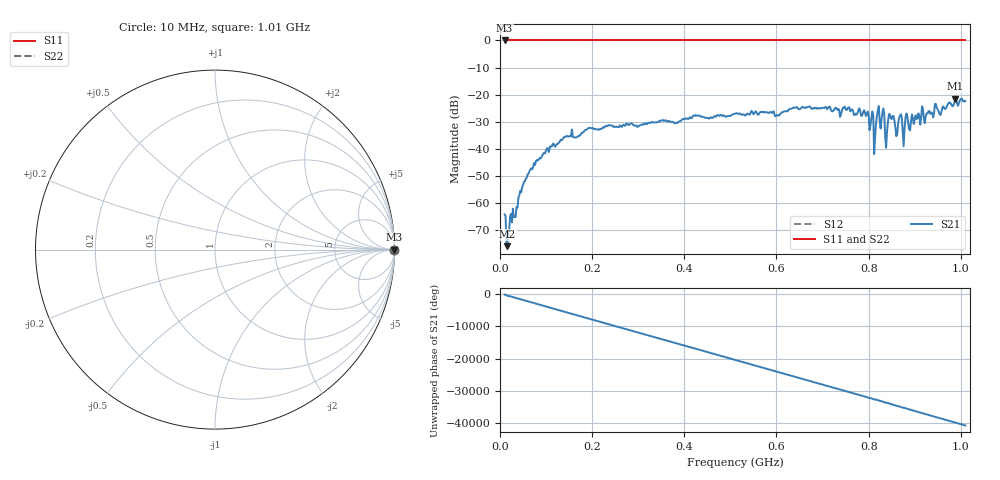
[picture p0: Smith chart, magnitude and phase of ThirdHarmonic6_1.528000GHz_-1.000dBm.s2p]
! 8/16/2025 6:04:28 PM
! C:\ANRITSUVNA\TEMP\TEMP.S2P
! CHANNEL.1
! TR.MEASUREMENT
! RAW.DATA
! RF.CORRECTION.OFF
! AVERAGING.OFF
! IF.BANDWIDTH: 5KHZ
! SWEEPTYPE:  FREQ.SWEEP(Linear)
! Reference Plane Port Info
! PORT:  PORT1  PORT2
! DISTANCE:  0  m  0  m
! TIME:  0  s  0  s
! PHASE.OFFSET:  0  deg.  0  deg.
! LOSS:  0  dB  0  dB
! REF.LOSS:  0  dB  0  dB
! REF.FREQ:  0  Hz  0  Hz
! Power Info
! POWER:  -20  dBm  -20  dBm
! EFF.POWER:  -20  dBm  -20  dBm
! SOURCE.ATTEN:  0  dB  0  dB
! TEST.ATTEN:  0  dB  0  dB
# GHZ S RI R 50.0
! FREQ.GHZ  S11RE  S11IM  S21RE  S21IM  S12RE  S12IM  S22RE  S22IM
!; PortSelection: Port_12
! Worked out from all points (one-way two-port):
!   501 points, 10 MHz to 1.01 GHz, reference 50 ohm
!   highest |S21| = -21.45 dB at 988 MHz (marker M1); lowest = -76.0 dB at 16 MHz (marker M2)
!   lowest |S11| = 0.0 dB at 10 MHz (marker M3)
!   |S11| at or under -10 dB: nowhere
!   |S22| runs from 0.0 to 0.0 dB; largest |S21 - S12| = 1.1
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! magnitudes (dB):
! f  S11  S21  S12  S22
! 10 MHz  0.0  -64.3  0.0  0.0
! 16 MHz  0.0  -76.0  0.0  0.0
! 52 MHz  0.0  -52.3  0.0  0.0
! 78 MHz  0.0  -44.6  0.0  0.0
! 142 MHz  0.0  -35.6  0.0  0.0
! 178 MHz  0.0  -34.1  0.0  0.0
! 344 MHz  0.0  -30.1  0.0  0.0
! 510 MHz  0.0  -27.0  0.0  0.0
! 678 MHz  0.0  -25.1  0.0  0.0
! 794 MHz  0.0  -27.9  0.0  0.0
! 814 MHz  0.0  -35.8  0.0  0.0
! 820 MHz  0.0  -25.8  0.0  0.0
! 830 MHz  0.0  -26.6  0.0  0.0
! 838 MHz  0.0  -39.6  0.0  0.0
! 844 MHz  0.0  -27.4  0.0  0.0
! 850 MHz  0.0  -29.0  0.0  0.0
! 860 MHz  0.0  -35.4  0.0  0.0
! 868 MHz  0.0  -27.8  0.0  0.0
! 876 MHz  0.0  -39.1  0.0  0.0
! 882 MHz  0.0  -27.0  0.0  0.0
! 988 MHz  0.0  -21.4  0.0  0.0
! 1.01 GHz  0.0  -22.4  0.0  0.0
